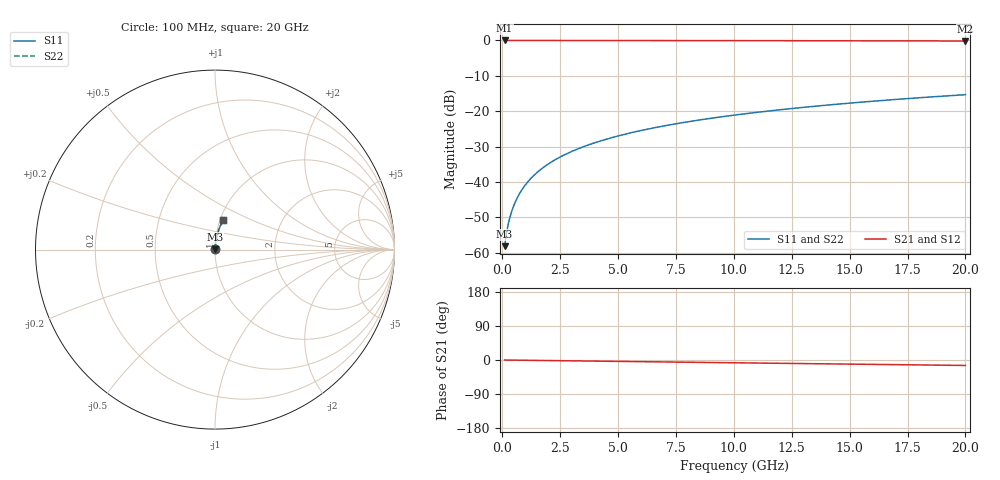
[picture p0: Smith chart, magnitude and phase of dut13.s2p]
! Touchstone file exported from HFSS 2026.1.0
!  File:  C:/ffzhzh/LocalFiles/Ansys_Project_Files/temp_test_BSMRDL_13_1782907408_43084.aedt
!  Generated:  08:04:41 PM Jul  1, 2026
!  Design:  BSMRDL
!  Project:  temp_test_BSMRDL_13_1782907408_43084
! Variables:
!  h_bsmrdl = 4.33um
!  h_ox = 20um
!  h_rdl = 5um
!  h_sub = 80um
!  h_tmrdl = 5um
!  h_tsv = 80um
!  h_via = 3um
!  l_bsmrdl = 146.8um
!  l_sub = 546.8um
!  l_tmrdl = 200um
!  m_sub = 200um
!  pitch = 56.11um
!  r_tsv = 6um
!  s_tmrdl = 10um
!  w_bsmrdl = 18.93um
!  w_sub = 500um
!  w_tmrdl = 12um
!  x_tsv_center1 = 206um
!  x_tsv_center2 = 371.73um
!  x_tsv_center3 = 583.73um
!  x_tsv_center4 = 749.46um
!  x_tsv_center5 = 961.46um
!  x_tsv_center6 = 1127.19um
# GHz S MA R 50.000000
! Terminal data exported
! Port[1] = BSM_RDL1_1_T1
! Port[2] = BSM_RDL1_1_T2
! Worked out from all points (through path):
!   200 points, 100 MHz to 20 GHz, reference 50 ohm
!   highest |S21| = -0.01 dB at 100 MHz (marker M1); lowest = -0.2 dB at 20 GHz (marker M2)
!   group delay of S21, straight-line fit = 2 ps
!   lowest |S11| = -58.1 dB at 100 MHz (marker M3), VSWR 1.00, Z = 50.1 + j0.0949 ohm
!   |S11| at or under -10 dB: start of sweep to end of sweep
!   |S22| runs from -58.1 to -15.3 dB; largest |S21 - S12| = 2e-15
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0.1  0.00124 49.8  0.9992 -0.1  0.9992 -0.1  0.00124 49.8
! Gamma 0 0 0 0
! Port Impedance 50 0 50 0
0.2  0.002055 66.1  0.9992 -0.2  0.9992 -0.2  0.002055 66.1
0.3  0.002925 72.7  0.9991 -0.2  0.9991 -0.2  0.002925 72.7
0.4  0.003805 76.2  0.9991 -0.3  0.9991 -0.3  0.003805 76.2
0.5  0.004688 78.4  0.9991 -0.4  0.9991 -0.4  0.004688 78.4
0.7  0.006461 81.1  0.999 -0.5  0.999 -0.5  0.006461 81.1
0.8  0.007351 81.9  0.999 -0.6  0.999 -0.6  0.007351 81.9
1  0.009136 83.1  0.999 -0.7  0.999 -0.7  0.009136 83.1
1.2  0.01092 83.9  0.9989 -0.9  0.9989 -0.9  0.01092 83.9
1.4  0.01272 84.3  0.9989 -1.0  0.9989 -1.0  0.01272 84.4
1.7  0.0154 84.8  0.9988 -1.3  0.9988 -1.3  0.0154 84.8
2  0.01809 85.0  0.9987 -1.5  0.9987 -1.5  0.01809 85.0
2.7  0.02435 85.2  0.9985 -2.0  0.9985 -2.0  0.02435 85.2
3.5  0.03146 84.9  0.9981 -2.6  0.9981 -2.6  0.03146 84.9
4.2  0.03766 84.6  0.9978 -3.1  0.9978 -3.1  0.03766 84.6
5  0.0447 84.2  0.9974 -3.7  0.9974 -3.7  0.0447 84.2
6.8  0.06041 83.1  0.9962 -5.0  0.9962 -5.0  0.06041 83.1
8.3  0.07338 82.1  0.995 -6.1  0.995 -6.1  0.07338 82.1
10.1  0.08881 81.0  0.9935 -7.4  0.9935 -7.4  0.08881 81.0
13.4  0.1168 78.8  0.9902 -9.8  0.9902 -9.8  0.1168 78.8
16.7  0.1443 76.6  0.9862 -12.1  0.9862 -12.1  0.1443 76.6
20  0.1712 74.4  0.9816 -14.4  0.9816 -14.4  0.1712 74.4
